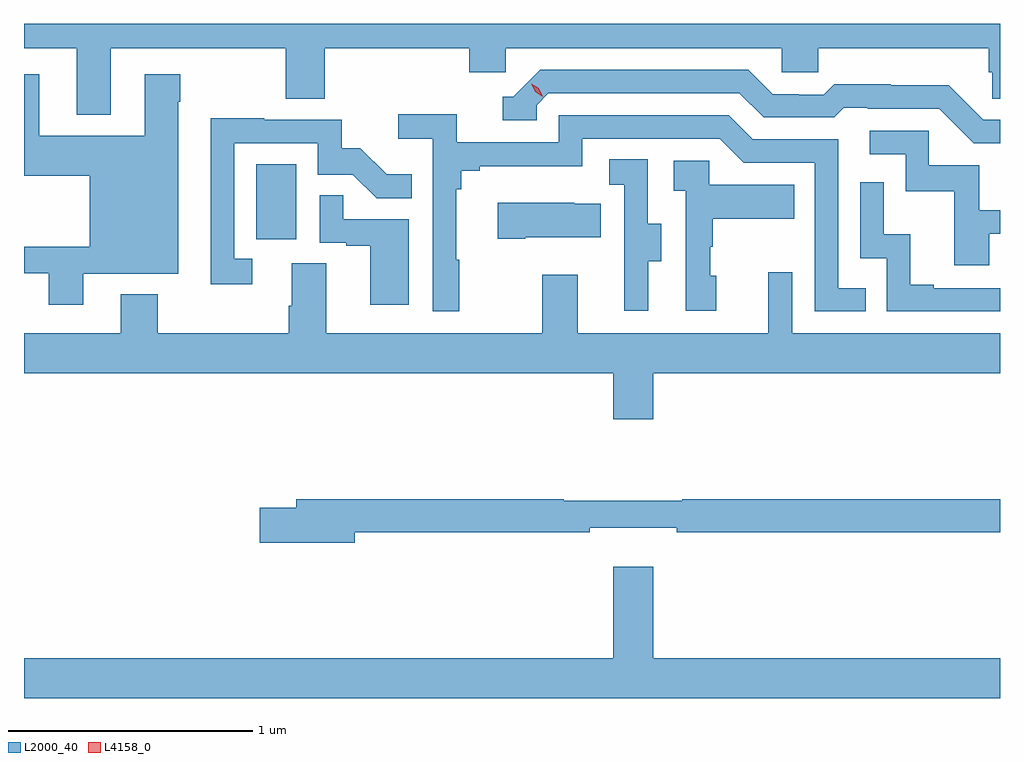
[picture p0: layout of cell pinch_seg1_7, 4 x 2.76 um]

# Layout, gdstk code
import gdstk
lib = gdstk.Library(unit=1e-6, precision=1e-09)
def R(c, l, rs):  # rectangles x0, y0, x1, y1
    for r in rs: c.add(gdstk.rectangle(r[:2], r[2:], *l))
def P(c, l, *ps):  # polygons
    for p in ps: c.add(gdstk.Polygon(p, *l))
L2000_40 = (2000, 40)
L4158_0 = (4158, 0)

pinch_seg1_7 = lib.new_cell('pinch_seg1_7')
R(pinch_seg1_7, L2000_40, [(1098.608,582.918,1098.772,583.225)])
P(pinch_seg1_7, L2000_40, [(1098.013,583.7),(1098.73,583.7),(1098.73,583.492),(1098.89,583.492),(1098.89,583.7),(1099.481,583.7),(1099.481,583.602),(1099.632,583.602),(1099.632,583.7),(1100.763,583.7),(1100.763,583.602),(1100.913,583.602),(1100.913,583.7),(1101.611,583.7),(1101.611,583.602),(1101.625,583.602),(1101.625,583.492),(1101.657,583.492),(1101.657,583.8),(1097.657,583.8),(1097.657,583.7),(1097.873,583.7),(1097.873,583.427),(1098.013,583.427)],
  [(1101.657,583.407),(1101.588,583.407),(1101.446,583.549),(1101.21,583.549),(1101.21,583.552),(1100.977,583.552),(1100.935,583.509),(1100.832,583.509),(1100.832,583.512),(1100.725,583.512),(1100.626,583.611),(1099.773,583.611),(1099.662,583.5),(1099.619,583.5),(1099.619,583.404),(1099.758,583.404),(1099.758,583.467),(1099.806,583.515),(1100.589,583.515),(1100.688,583.416),(1100.977,583.416),(1101.016,583.455),(1101.115,583.455),(1101.115,583.452),(1101.408,583.452),(1101.549,583.311),(1101.657,583.311)],
  [(1097.899,582.776),(1098.289,582.776),(1098.289,583.481),(1098.297,583.481),(1098.297,583.594),(1098.152,583.594),(1098.152,583.342),(1097.719,583.342),(1097.719,583.594),(1097.657,583.594),(1097.657,583.178),(1097.927,583.178),(1097.927,582.886),(1097.657,582.886),(1097.657,582.777),(1097.759,582.777),(1097.759,582.648),(1097.899,582.648)],
  [(1099.441,582.833),(1099.429,582.833),(1099.429,583.121),(1099.448,583.121),(1099.448,583.198),(1099.525,583.198),(1099.525,583.217),(1099.944,583.217),(1099.944,583.329),(1100.508,583.329),(1100.607,583.23),(1100.898,583.23),(1100.898,582.621),(1101.107,582.621),(1101.107,582.717),(1100.994,582.717),(1100.994,583.326),(1100.644,583.326),(1100.545,583.425),(1099.848,583.425),(1099.848,583.314),(1099.43,583.314),(1099.43,583.43),(1099.191,583.43),(1099.191,583.328),(1099.332,583.328),(1099.332,582.621),(1099.441,582.621)],
  [(1098.592,582.837),(1098.519,582.837),(1098.519,583.311),(1098.861,583.311),(1098.861,583.182),(1099.005,583.182),(1099.103,583.084),(1099.247,583.084),(1099.247,583.183),(1099.143,583.183),(1099.036,583.29),(1098.96,583.29),(1098.96,583.407),(1098.641,583.407),(1098.641,583.412),(1098.422,583.412),(1098.422,582.732),(1098.592,582.732)],
  [(1101.613,582.939),(1101.657,582.939),(1101.657,583.035),(1101.571,583.035),(1101.571,583.221),(1101.366,583.221),(1101.366,583.362),(1101.123,583.362),(1101.123,583.266),(1101.27,583.266),(1101.27,583.113),(1101.469,583.113),(1101.469,582.81),(1101.613,582.81)],
  [(1100.215,582.826),(1100.269,582.826),(1100.269,582.981),(1100.214,582.981),(1100.214,583.244),(1100.055,583.244),(1100.055,583.141),(1100.118,583.141),(1100.118,582.837),(1100.117,582.837),(1100.117,582.624),(1100.215,582.624)],
  [(1100.494,582.768),(1100.469,582.768),(1100.469,582.887),(1100.479,582.887),(1100.479,583.001),(1100.813,583.001),(1100.813,583.141),(1100.466,583.141),(1100.466,583.239),(1100.319,583.239),(1100.319,583.115),(1100.37,583.115),(1100.37,582.624),(1100.494,582.624)],
  [(1101.657,582.717),(1101.385,582.717),(1101.385,582.73),(1101.29,582.73),(1101.29,582.938),(1101.18,582.938),(1101.18,583.15),(1101.084,583.15),(1101.084,582.84),(1101.192,582.84),(1101.192,582.621),(1101.657,582.621)],
  [(1099.234,582.999),(1098.965,582.999),(1098.965,583.097),(1098.87,583.097),(1098.87,582.903),(1098.977,582.903),(1098.977,582.891),(1099.076,582.891),(1099.076,582.648),(1099.234,582.648)],
  [(1099.711,582.926),(1100.021,582.926),(1100.021,583.063),(1099.913,583.063),(1099.913,583.066),(1099.599,583.066),(1099.599,582.919),(1099.711,582.919)],
  [(1100.236,582.368),(1101.657,582.368),(1101.657,582.532),(1100.805,582.532),(1100.805,582.781),(1100.708,582.781),(1100.708,582.532),(1099.927,582.532),(1099.927,582.772),(1099.78,582.772),(1099.78,582.532),(1098.895,582.532),(1098.895,582.818),(1098.755,582.818),(1098.755,582.644),(1098.743,582.644),(1098.743,582.532),(1098.206,582.532),(1098.206,582.691),(1098.053,582.691),(1098.053,582.532),(1097.657,582.532),(1097.657,582.368),(1100.072,582.368),(1100.072,582.18),(1100.236,582.18)],
  [(1099.012,581.716),(1099.976,581.716),(1099.976,581.735),(1100.332,581.735),(1100.332,581.716),(1101.657,581.716),(1101.657,581.852),(1100.355,581.852),(1100.355,581.845),(1099.87,581.845),(1099.87,581.852),(1098.773,581.852),(1098.773,581.816),(1098.624,581.816),(1098.624,581.674),(1099.012,581.674)],
  [(1101.657,581.2),(1100.236,581.2),(1100.236,581.575),(1100.072,581.575),(1100.072,581.2),(1097.657,581.2),(1097.657,581.036),(1101.657,581.036)])
P(pinch_seg1_7, L4158_0, [(1099.783,583.502),(1099.752,583.521),(1099.735,583.554),(1099.735,583.554),(1099.736,583.554),(1099.767,583.535),(1099.784,583.502),(1099.784,583.502)])

lib.write_gds('pinch_seg1_7.gds')
